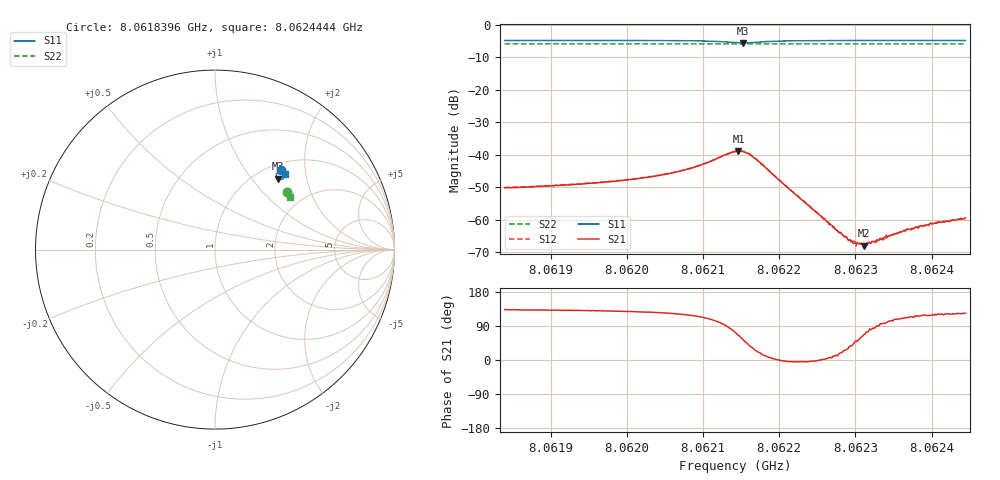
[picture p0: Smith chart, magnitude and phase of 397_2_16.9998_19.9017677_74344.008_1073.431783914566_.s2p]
#  HZ  S  RI  R  50.00
! Rohde & Schwarz Vector Network Analyzer
! Rohde-Schwarz,ZNB20-2Port,1311601062101988,3.16
! Created: UTC 3/20/2024, 11:09:53 PM
! freq[Hz]  re:S11  im:S11  re:S21  im:S21  re:S12  im:S12  re:S22  im:S22
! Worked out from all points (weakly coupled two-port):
!   401 points, 8.0618396 GHz to 8.0624444 GHz, reference 50 ohm
!   highest |S21| = -38.86 dB at 8.0621465 GHz (marker M1); lowest = -68.0 dB at 8.0623114 GHz (marker M2)
!   lowest |S11| = -5.6 dB at 8.0621526 GHz (marker M3), VSWR 3.23, Z = 62.3 + j68.2 ohm
!   |S11| at or under -10 dB: nowhere
!   |S22| runs from -5.9 to -5.8 dB; largest |S21 - S12| = 0.00078
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8.06183956e9  0.3668 0.4441  -0.00209 0.00228  -0.002 0.00243  0.3991 0.3212
8.06194088e9  0.3739 0.4379  -0.00229 0.00267  -0.00217 0.00287  0.4029 0.3163
8.06200892e9  0.3792 0.4321  -0.00256 0.00332  -0.00237 0.0035  0.4055 0.3127
8.06204219e9  0.3822 0.428  -0.00274 0.00393  -0.00251 0.00413  0.4066 0.311
8.06208605e9  0.386 0.4187  -0.00287 0.0056  -0.00255 0.00579  0.4082 0.3084
8.062142e9  0.3648 0.3901  0.00322 0.0107  0.00384 0.0106  0.4087 0.3047
8.06214653e9  0.3581 0.3909  0.00477 0.0104  0.00536 0.0101  0.4085 0.3047
8.06215258e9  0.3494 0.3953  0.00665 0.00899  0.00717 0.00868  0.4084 0.3048
8.06216166e9  0.3418 0.4074  0.00812 0.00598  0.00844 0.00556  0.4086 0.3048
8.06217224e9  0.343 0.4211  0.00744 0.00286  0.00776 0.00243  0.4091 0.3049
8.06224332e9  0.3722 0.4345  0.00146 -7.52e-05  0.0015 -0.000155  0.4131 0.3017
8.06227658e9  0.3779 0.4324  0.000648 0.000124  0.000664 0.000124  0.4146 0.3001
8.06229171e9  0.3798 0.4314  0.000397 0.000284  0.0004 0.000254  0.4151 0.2991
8.06229927e9  0.3806 0.4309  0.000288 0.00032  0.000326 0.000331  0.4152 0.2988
8.0623038e9  0.3812 0.4306  0.000255 0.000344  0.000264 0.000307  0.4154 0.2985
8.06231136e9  0.3819 0.43  0.000155 0.000366  0.000173 0.000359  0.4157 0.2982
8.06231893e9  0.3827 0.4295  5.82e-05 0.000436  0.000112 0.000431  0.4161 0.2976
8.06232649e9  0.3834 0.429  3.23e-05 0.00046  4.9e-05 0.00045  0.4163 0.2974
8.06234463e9  0.3851 0.4279  -0.000122 0.000547  -9.5e-05 0.000535  0.4169 0.2964
8.06238244e9  0.3882 0.4256  -0.000343 0.000696  -0.000284 0.000678  0.4183 0.2944
8.06240815e9  0.39 0.424  -0.000468 0.000761  -0.000425 0.000823  0.4194 0.293
8.06244444e9  0.3925 0.4221  -0.000583 0.00089  -0.00053 0.000917  0.4204 0.2911
